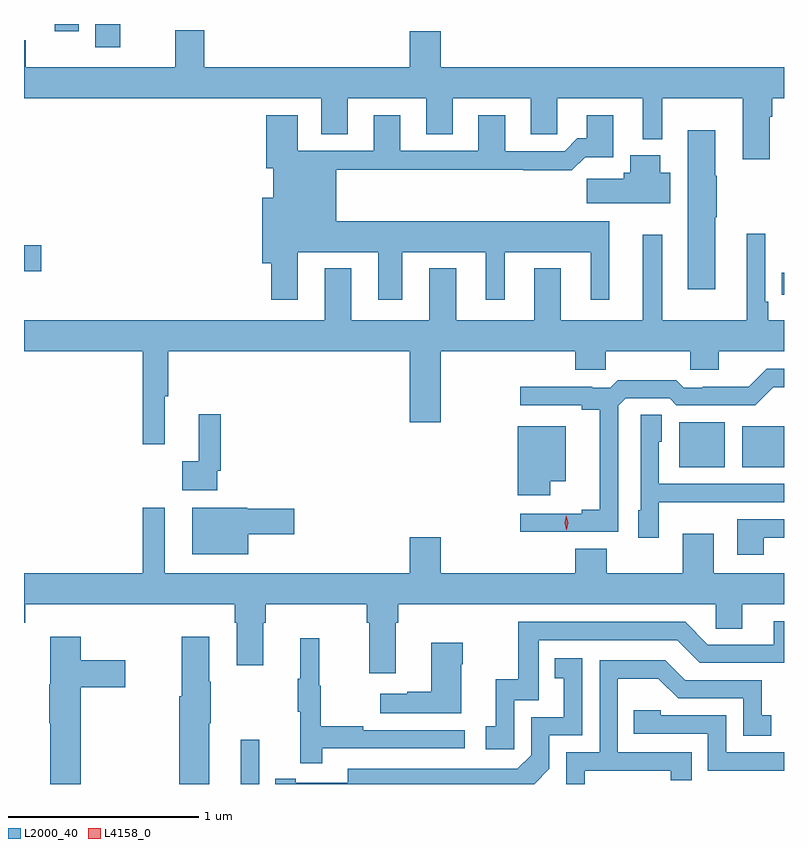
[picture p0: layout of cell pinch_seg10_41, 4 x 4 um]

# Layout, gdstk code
import gdstk
lib = gdstk.Library(unit=1e-6, precision=1e-09)
def R(c, l, rs):  # rectangles x0, y0, x1, y1
    for r in rs: c.add(gdstk.rectangle(r[:2], r[2:], *l))
def P(c, l, *ps):  # polygons
    for p in ps: c.add(gdstk.Polygon(p, *l))
L2000_40 = (2000, 40)
L4158_0 = (4158, 0)

pinch_seg10_41 = lib.new_cell('pinch_seg10_41')
R(pinch_seg10_41, L2000_40, [(895.388,1276.727,895.485,1276.96), (897.695,1278.395,897.934,1278.631), (898.028,1278.395,898.247,1278.61), (898.234,1279.302,898.247,1279.418), (894.247,1279.427,894.337,1279.562), (894.623,1280.604,894.754,1280.727), (894.41,1280.688,894.535,1280.727)])
P(pinch_seg10_41, L2000_40, [(898.171,1280.24),(898.184,1280.24),(898.184,1280.336),(898.247,1280.336),(898.247,1280.5),(896.44,1280.5),(896.44,1280.689),(896.276,1280.689),(896.276,1280.5),(895.196,1280.5),(895.196,1280.695),(895.043,1280.695),(895.043,1280.5),(894.255,1280.5),(894.255,1280.641),(894.247,1280.641),(894.247,1280.336),(895.811,1280.336),(895.811,1280.146),(895.951,1280.146),(895.951,1280.336),(896.363,1280.336),(896.363,1280.146),(896.503,1280.146),(896.503,1280.336),(896.915,1280.336),(896.915,1280.146),(897.054,1280.146),(897.054,1280.336),(897.503,1280.336),(897.503,1280.12),(897.607,1280.12),(897.607,1280.336),(898.031,1280.336),(898.031,1280.016),(898.171,1280.016)],
  [(895.687,1279.526),(896.111,1279.526),(896.111,1279.275),(896.239,1279.275),(896.239,1279.526),(896.678,1279.526),(896.678,1279.275),(896.776,1279.275),(896.776,1279.526),(897.23,1279.526),(897.23,1279.275),(897.328,1279.275),(897.328,1279.69),(895.891,1279.69),(895.891,1279.96),(896.875,1279.96),(896.875,1279.958),(897.131,1279.958),(897.2,1280.027),(897.349,1280.027),(897.349,1280.248),(897.209,1280.248),(897.209,1280.125),(897.16,1280.125),(897.093,1280.058),(896.779,1280.058),(896.779,1280.248),(896.639,1280.248),(896.639,1280.061),(896.227,1280.061),(896.227,1280.248),(896.087,1280.248),(896.087,1280.061),(895.687,1280.061),(895.687,1280.248),(895.523,1280.248),(895.523,1279.968),(895.559,1279.968),(895.559,1279.813),(895.502,1279.813),(895.502,1279.469),(895.547,1279.469),(895.547,1279.275),(895.687,1279.275)],
  [(897.886,1279.711),(897.894,1279.711),(897.894,1279.928),(897.886,1279.928),(897.886,1280.167),(897.74,1280.167),(897.74,1279.332),(897.886,1279.332)],
  [(897.649,1279.945),(897.595,1279.945),(897.595,1280.035),(897.437,1280.035),(897.437,1279.945),(897.404,1279.945),(897.404,1279.913),(897.21,1279.913),(897.21,1279.784),(897.649,1279.784)],
  [(897.607,1279.618),(897.503,1279.618),(897.503,1279.168),(897.073,1279.168),(897.073,1279.441),(896.933,1279.441),(896.933,1279.168),(896.521,1279.168),(896.521,1279.441),(896.381,1279.441),(896.381,1279.168),(895.969,1279.168),(895.969,1279.441),(895.829,1279.441),(895.829,1279.168),(894.247,1279.168),(894.247,1279.004),(894.871,1279.004),(894.871,1278.516),(894.989,1278.516),(894.989,1278.768),(895.007,1278.768),(895.007,1279.004),(896.276,1279.004),(896.276,1278.63),(896.44,1278.63),(896.44,1279.004),(897.149,1279.004),(897.149,1278.906),(897.309,1278.906),(897.309,1279.004),(897.754,1279.004),(897.754,1278.906),(897.904,1278.906),(897.904,1279.004),(898.247,1279.004),(898.247,1279.168),(898.163,1279.168),(898.163,1279.264),(898.149,1279.264),(898.149,1279.624),(898.052,1279.624),(898.052,1279.168),(897.607,1279.168)],
  [(897.375,1278.717),(897.414,1278.756),(897.645,1278.756),(897.681,1278.72),(898.095,1278.72),(898.19,1278.815),(898.247,1278.815),(898.247,1278.912),(898.155,1278.912),(898.061,1278.818),(897.82,1278.818),(897.82,1278.813),(897.72,1278.813),(897.681,1278.853),(897.373,1278.853),(897.333,1278.813),(897.239,1278.813),(897.239,1278.818),(896.859,1278.818),(896.859,1278.72),(897.182,1278.72),(897.182,1278.698),(897.278,1278.698),(897.278,1278.17),(897.182,1278.17),(897.182,1278.15),(896.859,1278.15),(896.859,1278.054),(897.375,1278.054)],
  [(895.263,1278.376),(895.283,1278.376),(895.283,1278.673),(895.166,1278.673),(895.166,1278.425),(895.08,1278.425),(895.08,1278.272),(895.263,1278.272)],
  [(897.588,1278.209),(897.905,1278.209),(897.905,1278.21),(898.247,1278.21),(898.247,1278.306),(897.588,1278.306),(897.588,1278.528),(897.604,1278.528),(897.604,1278.671),(897.492,1278.671),(897.492,1278.168),(897.479,1278.168),(897.479,1278.024),(897.588,1278.024)],
  [(897.016,1278.32),(897.097,1278.32),(897.097,1278.61),(896.846,1278.61),(896.846,1278.248),(897.016,1278.248)],
  [(894.247,1277.576),(894.254,1277.576),(894.254,1277.672),(895.355,1277.672),(895.355,1277.576),(895.367,1277.576),(895.367,1277.352),(895.507,1277.352),(895.507,1277.576),(895.52,1277.576),(895.52,1277.672),(896.051,1277.672),(896.051,1277.576),(896.063,1277.576),(896.063,1277.31),(896.203,1277.31),(896.203,1277.576),(896.216,1277.576),(896.216,1277.672),(897.888,1277.672),(897.888,1277.545),(898.027,1277.545),(898.027,1277.672),(898.247,1277.672),(898.247,1277.836),(897.877,1277.836),(897.877,1278.043),(897.713,1278.043),(897.713,1277.836),(897.313,1277.836),(897.313,1277.965),(897.149,1277.965),(897.149,1277.836),(896.44,1277.836),(896.44,1278.025),(896.276,1278.025),(896.276,1277.836),(894.988,1277.836),(894.988,1278.181),(894.871,1278.181),(894.871,1277.836),(894.247,1277.836)],
  [(895.426,1278.041),(895.669,1278.041),(895.669,1278.176),(895.422,1278.176),(895.422,1278.181),(895.133,1278.181),(895.133,1277.936),(895.426,1277.936)],
  [(898.141,1278.024),(898.247,1278.024),(898.247,1278.12),(898.001,1278.12),(898.001,1277.934),(898.141,1277.934)],
  [(896.826,1277.169),(896.955,1277.169),(896.955,1277.484),(897.684,1277.484),(897.804,1277.364),(898.247,1277.364),(898.247,1277.583),(898.193,1277.583),(898.193,1277.46),(897.846,1277.46),(897.726,1277.58),(896.847,1277.58),(896.847,1277.278),(896.729,1277.278),(896.729,1277.031),(896.676,1277.031),(896.676,1276.911),(896.826,1276.911)],
  [(895.222,1277.047),(895.23,1277.047),(895.23,1277.264),(895.222,1277.264),(895.222,1277.503),(895.076,1277.503),(895.076,1277.19),(895.064,1277.19),(895.064,1276.727),(895.222,1276.727)],
  [(894.545,1277.237),(894.781,1277.237),(894.781,1277.379),(894.545,1277.379),(894.545,1277.503),(894.386,1277.503),(894.386,1277.253),(894.379,1277.253),(894.379,1277.047),(894.386,1277.047),(894.386,1276.727),(894.545,1276.727)],
  [(895.817,1276.914),(896.566,1276.914),(896.566,1277.01),(896.033,1277.01),(896.033,1277.03),(895.81,1277.03),(895.81,1277.244),(895.802,1277.244),(895.802,1277.494),(895.7,1277.494),(895.7,1277.281),(895.689,1277.281),(895.689,1277.107),(895.7,1277.107),(895.7,1276.836),(895.817,1276.836)],
  [(896.548,1277.357),(896.556,1277.357),(896.556,1277.47),(896.39,1277.47),(896.39,1277.213),(896.264,1277.213),(896.264,1277.203),(896.121,1277.203),(896.121,1277.099),(896.548,1277.099)],
  [(897.012,1276.806),(897.012,1276.983),(897.186,1276.983),(897.186,1277.389),(897.04,1277.389),(897.04,1277.283),(897.089,1277.283),(897.089,1277.079),(896.916,1277.079),(896.916,1276.878),(896.844,1276.806),(895.95,1276.806),(895.95,1276.734),(895.678,1276.734),(895.678,1276.754),(895.57,1276.754),(895.57,1276.727),(896.932,1276.727)],
  [(897.199,1276.797),(897.65,1276.797),(897.65,1276.746),(897.761,1276.746),(897.761,1276.893),(897.372,1276.893),(897.372,1277.282),(897.586,1277.282),(897.69,1277.178),(898.032,1277.178),(898.032,1276.98),(898.18,1276.98),(898.18,1277.089),(898.131,1277.089),(898.131,1277.274),(897.727,1277.274),(897.622,1277.379),(897.276,1277.379),(897.276,1276.893),(897.102,1276.893),(897.102,1276.727),(897.199,1276.727)],
  [(898.247,1276.893),(897.942,1276.893),(897.942,1277.088),(897.597,1277.088),(897.597,1277.115),(897.457,1277.115),(897.457,1276.992),(897.846,1276.992),(897.846,1276.797),(898.247,1276.797)])
P(pinch_seg10_41, L4158_0, [(897.102,1278.066),(897.092,1278.101),(897.101,1278.138),(897.102,1278.138),(897.102,1278.138),(897.112,1278.102),(897.103,1278.066),(897.103,1278.066)])

lib.write_gds('pinch_seg10_41.gds')
